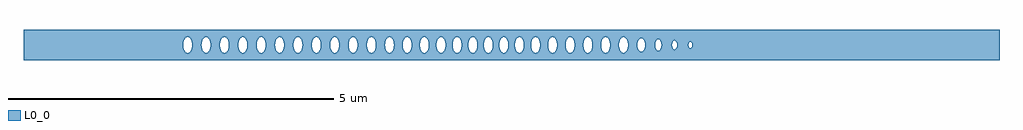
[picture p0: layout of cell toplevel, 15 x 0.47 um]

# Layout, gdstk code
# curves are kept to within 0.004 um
import gdstk
lib = gdstk.Library(unit=1e-6, precision=1e-09)
def P(c, l, *ps):  # polygons
    for p in ps: c.add(gdstk.Polygon(p, *l))
L0_0 = (0, 0)

toplevel = lib.new_cell('toplevel')
P(toplevel, L0_0, [(-4.469,-0.235),(-4.469,-0.073),(-4.483,0),(-4.469,0.072),(-4.469,0.235),(-7.5,0.235),(-7.5,0),(-5.048,0),(-5.043,0.046),(-5.029,0.085),(-5.011,0.109),(-4.982,0.124),(-4.955,0.118),(-4.926,0.085),(-4.91,0.038),(-4.907,-0.016),(-4.765,-0.016),(-4.762,0.038),(-4.752,0.073),(-4.729,0.109),(-4.699,0.124),(-4.673,0.118),(-4.646,0.09),(-4.629,0.046),(-4.624,0.008),(-4.626,-0.031),(-4.64,-0.079),(-4.661,-0.109),(-4.69,-0.124),(-4.716,-0.118),(-4.74,-0.096),(-4.752,-0.073),(-4.765,-0.016),(-4.907,-0.016),(-4.915,-0.06),(-4.939,-0.105),(-4.964,-0.122),(-4.99,-0.122),(-5.011,-0.109),(-5.029,-0.085),(-5.043,-0.046),(-5.048,0),(-7.5,0),(-7.5,-0.235)],
  [(-3.917,0.016),(-3.909,0.06),(-3.892,0.096),(-3.869,0.118),(-3.843,0.124),(-3.843,0.235),(-4.469,0.235),(-4.469,0.073),(-4.454,0.1),(-4.434,0.118),(-4.417,0.124),(-4.39,0.118),(-4.367,0.096),(-4.35,0.06),(-4.342,-0.016),(-4.2,-0.016),(-4.197,0.038),(-4.187,0.073),(-4.164,0.109),(-4.134,0.124),(-4.108,0.118),(-4.081,0.09),(-4.064,0.046),(-4.059,0.008),(-4.061,-0.031),(-4.075,-0.079),(-4.096,-0.109),(-4.125,-0.124),(-4.151,-0.118),(-4.175,-0.096),(-4.187,-0.073),(-4.2,-0.016),(-4.342,-0.016),(-4.35,-0.06),(-4.367,-0.096),(-4.403,-0.123),(-4.425,-0.122),(-4.446,-0.109),(-4.469,-0.073),(-4.469,-0.235),(-3.843,-0.235),(-3.843,-0.124),(-3.869,-0.118),(-3.899,-0.085),(-3.913,-0.046)],
  [(-3.352,0.016),(-3.334,0.085),(-3.316,0.109),(-3.295,0.122),(-3.269,0.122),(-3.248,0.109),(-3.22,0.06),(-3.22,0.235),(-3.843,0.235),(-3.843,0.124),(-3.813,0.109),(-3.79,0.073),(-3.78,0.038),(-3.777,-0.016),(-3.635,-0.016),(-3.632,0.038),(-3.622,0.073),(-3.599,0.109),(-3.569,0.124),(-3.543,0.118),(-3.516,0.09),(-3.499,0.046),(-3.494,0.008),(-3.496,-0.031),(-3.51,-0.079),(-3.531,-0.109),(-3.56,-0.124),(-3.586,-0.118),(-3.61,-0.096),(-3.622,-0.073),(-3.635,-0.016),(-3.777,-0.016),(-3.785,-0.06),(-3.802,-0.096),(-3.825,-0.118),(-3.843,-0.124),(-3.843,-0.235),(-3.22,-0.235),(-3.22,-0.06),(-3.237,-0.096),(-3.26,-0.118),(-3.278,-0.124),(-3.304,-0.118),(-3.327,-0.096),(-3.342,-0.066)],
  [(-3.214,-0.031),(-3.22,-0.06),(-3.22,-0.235),(-2.503,-0.235),(-2.503,0.235),(-3.22,0.235),(-3.22,0.06),(-3.212,-0.016),(-3.07,-0.016),(-3.067,0.038),(-3.057,0.073),(-3.034,0.109),(-3.004,0.124),(-2.978,0.118),(-2.948,0.085),(-2.934,0.046),(-2.929,-0.008),(-2.788,-0.008),(-2.783,0.046),(-2.762,0.096),(-2.73,0.122),(-2.695,0.118),(-2.672,0.096),(-2.655,0.06),(-2.647,-0.016),(-2.653,-0.053),(-2.666,-0.085),(-2.683,-0.109),(-2.704,-0.122),(-2.735,-0.12),(-2.762,-0.096),(-2.779,-0.06),(-2.788,-0.008),(-2.929,-0.008),(-2.934,-0.046),(-2.948,-0.085),(-2.966,-0.109),(-2.995,-0.124),(-3.021,-0.118),(-3.045,-0.096),(-3.061,-0.061),(-3.07,-0.016),(-3.212,-0.016)],
  [(-2.502,0.038),(-2.48,0.096),(-2.456,0.118),(-2.43,0.124),(-2.401,0.109),(-2.383,0.085),(-2.369,0.046),(-2.364,0),(-2.224,0),(-2.219,0.046),(-2.205,0.085),(-2.175,0.118),(-2.149,0.124),(-2.119,0.109),(-2.096,0.073),(-2.086,0.038),(-2.083,-0.016),(-2.091,-0.06),(-2.108,-0.096),(-2.131,-0.118),(-2.149,-0.124),(-2.175,-0.118),(-2.205,-0.085),(-2.219,-0.046),(-2.224,0),(-2.364,0),(-2.369,-0.046),(-2.383,-0.085),(-2.401,-0.109),(-2.43,-0.124),(-2.456,-0.118),(-2.48,-0.096),(-2.503,-0.032),(-2.503,-0.235),(-1.917,-0.235),(-1.917,-0.1),(-1.937,-0.06),(-1.946,-0.008),(-1.941,0.046),(-1.917,0.1),(-1.917,0.235),(-2.503,0.235)],
  [(-1.909,0.109),(-1.888,0.122),(-1.871,0.124),(-1.837,0.105),(-1.811,0.053),(-1.805,-0.008),(-1.674,-0.008),(-1.669,0.046),(-1.652,0.09),(-1.625,0.118),(-1.608,0.124),(-1.59,0.122),(-1.569,0.109),(-1.546,0.073),(-1.536,0.038),(-1.533,-0.016),(-1.546,-0.073),(-1.558,-0.096),(-1.582,-0.118),(-1.608,-0.124),(-1.637,-0.109),(-1.655,-0.085),(-1.669,-0.046),(-1.674,-0.008),(-1.805,-0.008),(-1.813,-0.06),(-1.841,-0.109),(-1.862,-0.122),(-1.88,-0.124),(-1.897,-0.118),(-1.917,-0.1),(-1.917,-0.235),(-1.318,-0.235),(-1.318,-0.118),(-1.344,-0.124),(-1.377,-0.105),(-1.399,-0.066),(-1.41,-0.008),(-1.405,0.046),(-1.384,0.096),(-1.353,0.122),(-1.335,0.124),(-1.318,0.118),(-1.318,0.235),(-1.917,0.235),(-1.917,0.1)],
  [(-0.905,0.023),(-0.9,0.053),(-0.881,0.096),(-0.858,0.118),(-0.84,0.124),(-0.814,0.118),(-0.791,0.096),(-0.774,0.06),(-0.767,0.023),(-0.767,0.235),(-1.318,0.235),(-1.318,0.118),(-1.294,0.096),(-1.282,0.073),(-1.272,0.038),(-1.269,-0.016),(-1.154,-0.016),(-1.151,0.038),(-1.141,0.073),(-1.118,0.109),(-1.088,0.124),(-1.062,0.118),(-1.035,0.09),(-1.018,0.046),(-1.013,0.008),(-1.015,-0.031),(-1.029,-0.079),(-1.05,-0.109),(-1.079,-0.124),(-1.105,-0.118),(-1.129,-0.096),(-1.141,-0.073),(-1.154,-0.016),(-1.269,-0.016),(-1.282,-0.073),(-1.294,-0.096),(-1.318,-0.118),(-1.318,-0.235),(-0.767,-0.235),(-0.767,-0.026),(-0.781,-0.079),(-0.798,-0.105),(-0.823,-0.122),(-0.849,-0.122),(-0.874,-0.105),(-0.893,-0.073),(-0.906,-0.016)],
  [(-0.176,-0.235),(-0.176,-0.073),(-0.189,-0.016),(-0.186,0.038),(-0.176,0.072),(-0.176,0.235),(-0.767,0.235),(-0.766,-0.016),(-0.664,-0.016),(-0.66,0.046),(-0.651,0.073),(-0.628,0.109),(-0.598,0.124),(-0.572,0.118),(-0.543,0.085),(-0.527,0.038),(-0.524,-0.016),(-0.426,-0.016),(-0.423,0.038),(-0.413,0.073),(-0.39,0.109),(-0.36,0.124),(-0.334,0.118),(-0.304,0.085),(-0.29,0.046),(-0.285,0),(-0.29,-0.046),(-0.304,-0.085),(-0.322,-0.109),(-0.351,-0.124),(-0.378,-0.118),(-0.401,-0.096),(-0.418,-0.06),(-0.426,-0.016),(-0.524,-0.016),(-0.532,-0.06),(-0.549,-0.096),(-0.572,-0.118),(-0.59,-0.124),(-0.616,-0.118),(-0.639,-0.096),(-0.656,-0.06),(-0.664,-0.016),(-0.766,-0.016),(-0.767,-0.235)],
  [(0.301,0.023),(0.308,0.06),(0.325,0.096),(0.348,0.118),(0.375,0.124),(0.375,0.235),(-0.176,0.235),(-0.176,0.073),(-0.164,0.096),(-0.14,0.118),(-0.123,0.124),(-0.097,0.118),(-0.074,0.096),(-0.059,0.066),(-0.049,0.023),(-0.049,-0.016),(0.051,-0.016),(0.054,0.038),(0.064,0.073),(0.087,0.109),(0.117,0.124),(0.143,0.118),(0.17,0.09),(0.187,0.046),(0.192,0.008),(0.19,-0.031),(0.176,-0.079),(0.155,-0.109),(0.126,-0.124),(0.1,-0.118),(0.076,-0.096),(0.06,-0.061),(0.051,-0.016),(-0.049,-0.016),(-0.067,-0.085),(-0.085,-0.109),(-0.105,-0.122),(-0.123,-0.124),(-0.145,-0.115),(-0.164,-0.096),(-0.176,-0.073),(-0.176,-0.235),(0.375,-0.235),(0.375,-0.124),(0.348,-0.118),(0.319,-0.085),(0.303,-0.038)],
  [(0.832,0.023),(0.844,0.073),(0.856,0.096),(0.879,0.118),(0.897,0.124),(0.919,0.12),(0.939,0.105),(0.952,0.085),(0.952,0.235),(0.375,0.235),(0.375,0.124),(0.404,0.109),(0.422,0.085),(0.436,0.046),(0.44,-0.016),(0.561,-0.016),(0.564,0.038),(0.574,0.073),(0.597,0.109),(0.627,0.124),(0.653,0.118),(0.676,0.096),(0.693,0.06),(0.702,0.008),(0.697,-0.046),(0.683,-0.085),(0.665,-0.109),(0.636,-0.124),(0.609,-0.118),(0.586,-0.096),(0.569,-0.06),(0.561,-0.016),(0.44,-0.016),(0.422,-0.085),(0.404,-0.109),(0.375,-0.124),(0.375,-0.235),(0.952,-0.235),(0.952,-0.085),(0.935,-0.109),(0.914,-0.122),(0.888,-0.122),(0.867,-0.109),(0.837,-0.053)],
  [(0.97,-0.023),(0.952,-0.085),(0.952,-0.235),(1.652,-0.235),(1.652,0.235),(0.952,0.235),(0.952,0.085),(0.967,0.046),(0.971,-0.008),(1.103,-0.008),(1.108,0.046),(1.122,0.085),(1.152,0.118),(1.178,0.124),(1.208,0.109),(1.231,0.073),(1.241,0.038),(1.244,-0.016),(1.376,-0.016),(1.379,0.038),(1.401,0.096),(1.433,0.122),(1.451,0.124),(1.468,0.118),(1.501,0.079),(1.515,0.031),(1.517,-0.008),(1.512,-0.046),(1.498,-0.085),(1.48,-0.109),(1.459,-0.122),(1.424,-0.118),(1.401,-0.096),(1.389,-0.073),(1.376,-0.016),(1.244,-0.016),(1.231,-0.073),(1.219,-0.096),(1.2,-0.115),(1.178,-0.124),(1.152,-0.118),(1.125,-0.09),(1.108,-0.046),(1.103,-0.008),(0.971,-0.008)],
  [(1.655,0.038),(1.667,0.079),(1.684,0.105),(1.708,0.122),(1.726,0.124),(1.756,0.109),(1.773,0.085),(1.789,0.038),(1.792,-0.007),(1.934,-0.007),(1.938,0.039),(1.95,0.073),(1.972,0.099),(1.995,0.107),(2.017,0.099),(2.039,0.073),(2.051,0.039),(2.055,-0.013),(2.036,-0.078),(2.017,-0.099),(1.995,-0.107),(1.972,-0.099),(1.953,-0.078),(1.938,-0.039),(1.934,-0.007),(1.792,-0.007),(1.787,-0.046),(1.767,-0.096),(1.748,-0.115),(1.726,-0.124),(1.7,-0.118),(1.68,-0.1),(1.662,-0.066),(1.652,-0.026),(1.652,-0.235),(2.247,-0.235),(2.247,-0.088),(2.219,-0.061),(2.206,-0.017),(2.213,0.048),(2.226,0.072),(2.247,0.088),(2.247,0.235),(1.652,0.235)],
  [(2.253,0.089),(2.272,0.085),(2.291,0.065),(2.304,0.028),(2.306,-0.013),(2.466,-0.013),(2.473,0.042),(2.491,0.067),(2.504,0.072),(2.524,0.065),(2.538,0.046),(2.547,0),(2.718,0),(2.728,0.04),(2.74,0.052),(2.753,0.054),(2.773,0.035),(2.78,-0.01),(2.766,-0.046),(2.745,-0.054),(2.728,-0.04),(2.718,0),(2.547,0),(2.538,-0.046),(2.524,-0.065),(2.509,-0.072),(2.482,-0.058),(2.466,-0.013),(2.306,-0.013),(2.301,-0.043),(2.286,-0.072),(2.266,-0.088),(2.247,-0.088),(2.247,-0.235),(7.5,-0.235),(7.5,0.235),(2.247,0.235),(2.247,0.088)])

lib.write_gds('toplevel.gds')
